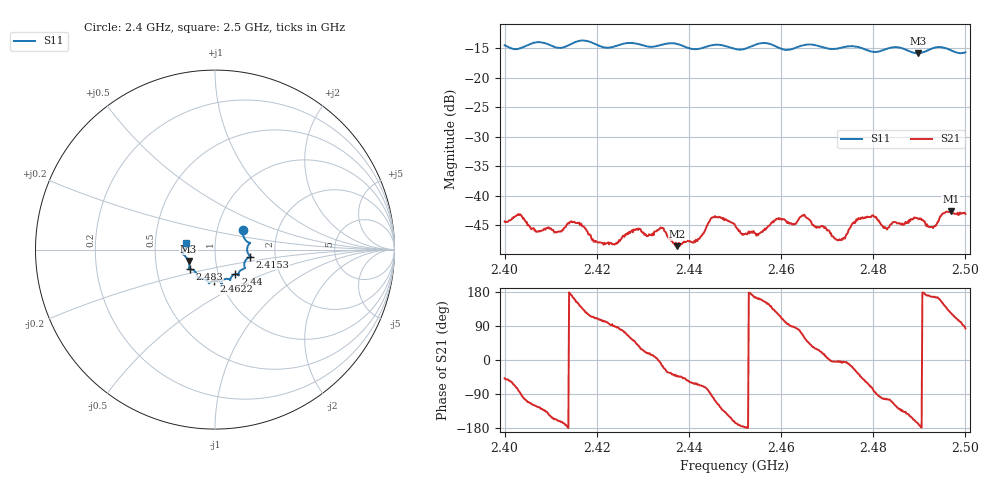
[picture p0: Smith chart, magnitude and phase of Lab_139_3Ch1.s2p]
# Hz S RI R 50
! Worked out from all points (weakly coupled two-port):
!   601 points, 2.4 GHz to 2.5 GHz, reference 50 ohm
!   highest |S21| = -42.61 dB at 2.4968 GHz (marker M1); lowest = -48.5 dB at 2.4375 GHz (marker M2)
!   lowest |S11| = -15.9 dB at 2.4897 GHz (marker M3), VSWR 1.38, Z = 36.9 - j4.82 ohm
!   |S11| at or under -10 dB: start of sweep to end of sweep
!   S12 and S22 are empty: the file has one direction only
!   S11 on the Smith chart (normalised r, x): 2.4 GHz: 1.33, +0.29; 2.4153 GHz: 1.48, -0.12; 2.44 GHz: 1.20, -0.34; 2.4622 GHz: 0.93, -0.33; 2.483 GHz: 0.74, -0.17; 2.5 GHz: 0.72, +0.06
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2.4e9  0.1551 0.1067  0.00404 -0.00452  0 0  0 0
2.403167e9  0.1669 0.0575  0.000825 -0.00682  0 0  0 0
2.411333e9  0.1797 0.00901  -0.00454 -0.00185  0 0  0 0
2.415333e9  0.1964 -0.0387  -0.0055 0.00217  0 0  0 0
2.416667e9  0.202 -0.0428  -0.00432 0.00379  0 0  0 0
2.421667e9  0.1699 -0.0609  -0.000871 0.00389  0 0  0 0
2.433333e9  0.1311 -0.1333  0.00513 -7.76e-05  0 0  0 0
2.4375e9  0.1307 -0.142  0.00271 -0.00258  0 0  0 0
2.44e9  0.114 -0.1367  0.00224 -0.00345  0 0  0 0
2.445333e9  0.0846 -0.1695  -0.00111 -0.0065  0 0  0 0
2.45e9  0.0647 -0.1629  -0.00546 -0.00139  0 0  0 0
2.454833e9  0.0359 -0.1893  -0.00454 0.00141  0 0  0 0
2.462167e9  -0.00724 -0.174  8.34e-05 0.00586  0 0  0 0
2.466667e9  -0.0344 -0.1878  0.00465 0.00349  0 0  0 0
2.4725e9  -0.0751 -0.1608  0.0042 -0.000181  0 0  0 0
2.477167e9  -0.0967 -0.1517  0.0046 -0.00436  0 0  0 0
2.483e9  -0.1378 -0.1096  -0.00127 -0.00503  0 0  0 0
2.483333e9  -0.1402 -0.1093  -0.00135 -0.00522  0 0  0 0
2.489667e9  -0.1476 -0.0636  -0.00626 -0.00147  0 0  0 0
2.493e9  -0.176 -0.0273  -0.00519 0.00122  0 0  0 0
2.496833e9  -0.171 -0.00826  -0.00415 0.00613  0 0  0 0
2.5e9  -0.1596 0.0392  0.000824 0.00697  0 0  0 0
